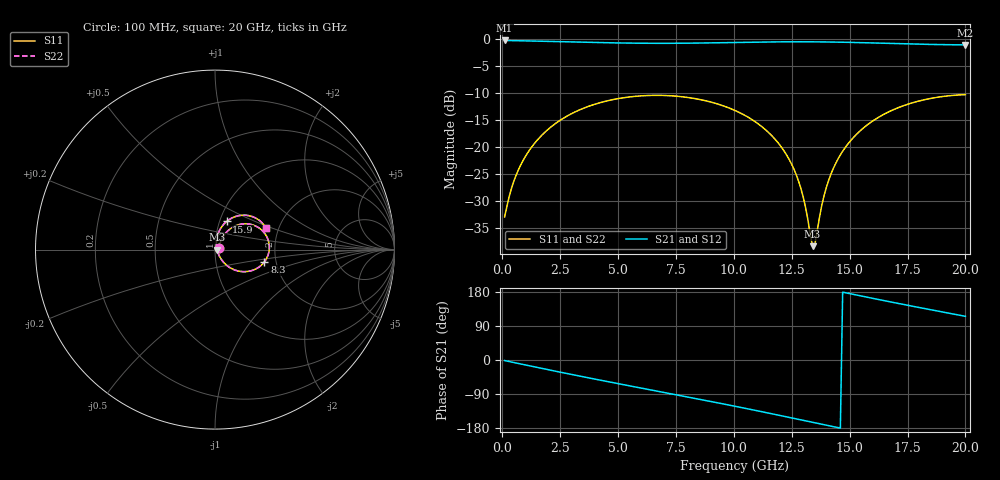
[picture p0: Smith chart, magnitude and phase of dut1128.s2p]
! Touchstone file exported from HFSS 2026.1.0
!  File:  C:/ffzhzh/LocalFiles/Ansys_Project_Files/temp_train_TSV_RDL_1128_1783307150_5512.aedt
!  Generated:  11:14:58 AM Jul  6, 2026
!  Design:  TSV_RDL
!  Project:  temp_train_TSV_RDL_1128_1783307150_5512
! Variables:
!  h_bsmrdl = 3.09um
!  h_ox = 20um
!  h_rdl = 5um
!  h_sub = 81.11um
!  h_tmrdl = 2.32um
!  h_tsv = 81.11um
!  h_via = 3um
!  l_bsmrdl = 836.9um
!  l_sub = 3930.83um
!  l_tmrdl = 222.52um
!  m_sub = 200um
!  pitch = 40.18um
!  r_tsv = 11.98um
!  s_tmrdl = 10um
!  w_bsmrdl = 28.38um
!  w_sub = 500um
!  w_tmrdl = 14.97um
!  x_tsv_center1 = 230.005um
!  x_tsv_center2 = 1095.285um
!  x_tsv_center3 = 1332.775um
!  x_tsv_center4 = 2198.055um
!  x_tsv_center5 = 2435.545um
!  x_tsv_center6 = 3300.825um
# GHz S MA R 50.000000
! Terminal data exported
! Port[1] = TM_RDL1_1_T1
! Port[2] = TM_RDL5_1_T1
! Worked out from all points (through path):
!   200 points, 100 MHz to 20 GHz, reference 50 ohm
!   highest |S21| = -0.18 dB at 100 MHz (marker M1); lowest = -1.0 dB at 20 GHz (marker M2)
!   group delay of S21, straight-line fit = 34 ps
!   lowest |S11| = -38.4 dB at 13.4 GHz (marker M3), VSWR 1.02, Z = 51.2 - j0.0315 ohm
!   |S11| at or under -10 dB: start of sweep to end of sweep
!   |S22| runs from -38.7 to -10.2 dB; largest |S21 - S12| = 1.7e-14
!   S11 on the Smith chart (normalised r, x): 100 MHz: 1.04, +0.02; 8.3 GHz: 1.73, -0.26; 15.9 GHz: 1.08, +0.35; 20 GHz: 1.72, +0.45
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0.1  0.02259 23.3  0.9794 -1.4  0.9794 -1.4  0.02259 23.3
! Gamma 0 0 0 0
! Port Impedance 50 0 50 0
0.5  0.04858 52.7  0.9744 -6.7  0.9744 -6.7  0.04858 52.7
1.2  0.09581 57.7  0.9683 -15.7  0.9683 -15.7  0.09582 57.7
2.2  0.1603 51.5  0.9584 -28.3  0.9584 -28.3  0.1603 51.5
3.5  0.2299 38.6  0.9437 -44.4  0.9437 -44.4  0.2299 38.6
5.1  0.2851 21.3  0.9281 -63.5  0.9281 -63.5  0.2851 21.3
6.8  0.3031 2.6  0.9213 -83.4  0.9213 -83.4  0.3031 2.6
8.3  0.2834 -14.0  0.9254 -101.0  0.9254 -101.0  0.2835 -14.0
10.1  0.2171 -34.2  0.9384 -122.6  0.9384 -122.6  0.2171 -34.3
11.4  0.1435 -48.3  0.9479 -138.8  0.9479 -138.8  0.1435 -48.5
12.4  0.07634 -56.5  0.9519 -151.6  0.9519 -151.6  0.07631 -56.9
12.7  0.05523 -56.8  0.9522 -155.4  0.9522 -155.4  0.05518 -57.3
13  0.03426 -52.8  0.9522 -159.3  0.9522 -159.3  0.03414 -53.6
13.4  0.01209 -1.5  0.9513 -164.4  0.9513 -164.4  0.0116 -2.3
13.5  0.01258 31.9  0.951 -165.7  0.951 -165.7  0.01208 32.5
13.9  0.03581 76.8  0.9491 -170.8  0.9491 -170.8  0.03558 77.6
14.3  0.06388 80.4  0.9465 -175.9  0.9465 -175.9  0.06372 80.8
15  0.1123 76.3  0.9403 175.2  0.9403 175.2  0.1122 76.6
15.9  0.1696 67.5  0.9301 163.9  0.9301 163.9  0.1695 67.7
16.7  0.2138 58.8  0.92 154.1  0.92 154.1  0.2137 59.0
18.3  0.2783 41.2  0.9017 135.0  0.9017 135.0  0.2782 41.3
20  0.3078 22.7  0.8912 115.3  0.8912 115.3  0.3077 22.8
